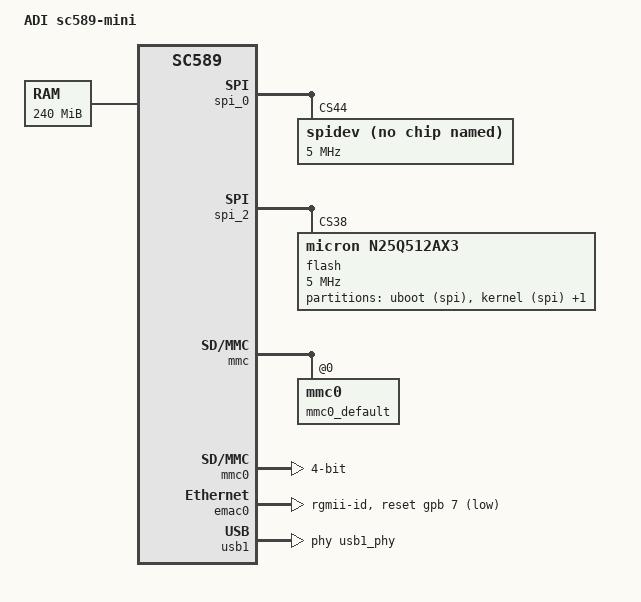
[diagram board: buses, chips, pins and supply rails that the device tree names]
/*
 * Device tree for ADI sc589-mini board
 *
 * Copyright 2014 Analog Devices Inc.
 *
 * Licensed under the GPL-2 or later.
 *
 */

/dts-v1/;

#include "sc58x.dtsi"

/ {
	model = "ADI sc589-mini";
	compatible = "adi,sc589-mini", "adi,sc58x";

	aliases {
		ethernet0 = &emac0;
	};

	memory@C3000000 {
		device_type = "memory";
		reg = <0xC3000000 0xF000000>;
	};

	scb {
		spi_0: spi@0x31042000 {
			#address-cells = <1>;
			#size-cells = <0>;
			compatible = "adi,spi3";
			reg = <0x31042000 0xFF>;
			interrupts = <0 109 0>;
			num-cs = <128>;
			dma-channel = <22>, <23>;
			pinctrl-names = "default";
			pinctrl-0 = <&spi0_default>;

			spidev {
				#address-cells = <1>;
				#size-cells = <1>;
				compatible = "rohm,dh2228fv";
				spi-max-frequency = <5000000>;
				reg = <44>;
			};
		};

		spi_2: spi@0x31044000 {
			#address-cells = <1>;
			#size-cells = <0>;
			compatible = "adi,spi3";
			reg = <0x31044000 0xFF>;
			interrupts = <0 71 0>;
			num-cs = <128>;
			dma-channel = <26>, <27>;
			pinctrl-names = "default";
			pinctrl-0 = <&spi2_quad>;

			flash: n25q512ax3@0 {
				#address-cells = <1>;
				#size-cells = <1>;
				compatible = "micron,n25q512ax3";
				spi-max-frequency = <5000000>;
				reg = <38>;
				spi-cpol;
				spi-cpha;
				spi-rx-bus-width = <4>;
				ignore-enable-quad-mode;
				dma-mode;

				partition@0 {
					label = "uboot (spi)";
					reg = <0x0 0x80000>;
				};
				partition@1 {
					label = "kernel (spi)";
					reg = <0x80000 0x580000>;
				};
				partition@2 {
					label = "root file system (spi)";
					reg = <0x600000 0x3a00000>;
				};
			};
		};

		pinctrl@0 {
			mmc {
				mmc0_default: mmc0@0 {
					adi,group = "mmc0_4bgrp";
					adi,function = "mmc0";
				};
			};

			eth {
				eth0_default: eth0@0 {
					adi,group = "eth0grp";
					adi,function = "eth0";
				};
			};
		};

		mmc0: mmc@0x31010000 {
			compatible = "adi,mmc";
			reg = <0x31010000 0xFFF>;
			interrupts = <0 131 0>;
			spu_securep_id = <58>;
			pinctrl-names = "default";
			pinctrl-0 = <&mmc0_default>;
			#address-cells = <1>;
			#size-cells = <0>;
			fifo-depth = <1024>;
			bus-width = <4>;
			supports-highspeed;
		};

		emac0: ethernet@0x3100C000 {
			compatible = "snps,dwmac", "snps,dwmac-3.710";
			reg = <0x3100C000 0x2000>;
			interrupt-parent = <&gic>;
			interrupts = <0 148 0>;
			interrupt-names = "macirq";
			snps,reset-gpio = <&gpb 7 0>;
			snps,reset-active-low;
			snps,reset-delays-us = <10000 20000 50000>;
			snps,fixed-burst;
			snps,burst_len = <0x8>;	/* BLEN16 */
			snps,pbl = <2>;
			snps,force_sf_dma_mode;
			snps,perfect-filter-entries = <32>;
			phy-mode = "rgmii-id";
			clock-names = "stmmaceth";
			pinctrl-names = "default";
			pinctrl-0 = <&eth0_default>;
		};

		usb1_phy: usb-phy@310c2390 {
			compatible = "usb-nop-xceiv";
			reg = <0x310c2390 0x10>;
			reg-names = "phy";
		};

		usb1: usb@310c2000 {
			compatible = "ADI,musb";
			reg = <0x310c2000 0x390>;
			reg-names = "mc";
			interrupts = <0 134 0>,
						 <0 135 0>;
			interrupt-names = "mc", "dma";
			spu_securep_id = <154>;

			mode = <1>; /* Host */
			mentor,multipoint = <1>;
			mentor,num-eps = <16>;
			mentor,ram-bits = <12>;
			mentor,dma-channels = <8>;
			memtor,dyn-fifo = <0>;
			mentor,power = <500>;
			phys = <&usb1_phy>;
		};

		button0: button@0 {
			compatible = "adi,button-led";
			button_gpio = <80>;
			led_gpio = <49>;
		};
		button1: button@1 {
			compatible = "adi,button-led";
			button_gpio = <81>;
			led_gpio = <50>;
		};
	};
};
